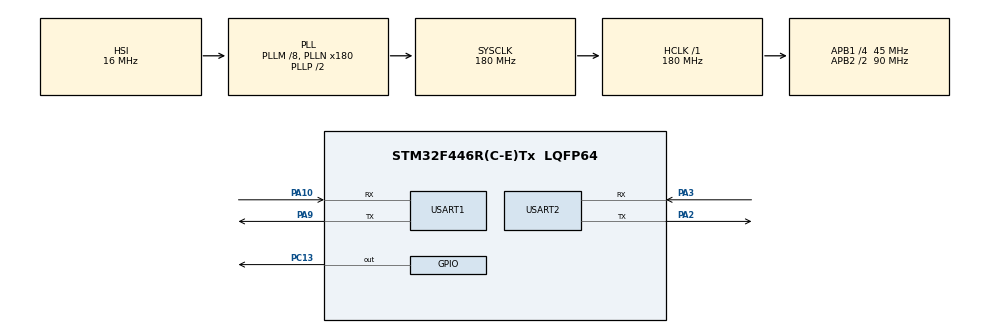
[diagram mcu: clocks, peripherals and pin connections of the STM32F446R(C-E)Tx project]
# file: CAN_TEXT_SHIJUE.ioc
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Dma.Request0=USART2_RX
Dma.Request1=USART2_TX
Dma.USART2_RX.0.Direction=DMA_PERIPH_TO_MEMORY
Dma.USART2_RX.0.FIFOMode=DMA_FIFOMODE_DISABLE
Dma.USART2_RX.0.Instance=DMA1_Stream5
Dma.USART2_RX.0.MemDataAlignment=DMA_MDATAALIGN_BYTE
Dma.USART2_RX.0.MemInc=DMA_MINC_ENABLE
Dma.USART2_RX.0.Mode=DMA_NORMAL
Dma.USART2_RX.0.PeriphDataAlignment=DMA_PDATAALIGN_BYTE
Dma.USART2_RX.0.PeriphInc=DMA_PINC_DISABLE
Dma.USART2_RX.0.Priority=DMA_PRIORITY_MEDIUM
Dma.USART2_TX.1.Direction=DMA_MEMORY_TO_PERIPH
Dma.USART2_TX.1.FIFOMode=DMA_FIFOMODE_DISABLE
Dma.USART2_TX.1.Instance=DMA1_Stream6
Dma.USART2_TX.1.MemDataAlignment=DMA_MDATAALIGN_BYTE
Dma.USART2_TX.1.MemInc=DMA_MINC_ENABLE
Dma.USART2_TX.1.Mode=DMA_NORMAL
Dma.USART2_TX.1.PeriphDataAlignment=DMA_PDATAALIGN_BYTE
Dma.USART2_TX.1.PeriphInc=DMA_PINC_DISABLE
Dma.USART2_TX.1.Priority=DMA_PRIORITY_LOW
Mcu.Family=STM32F4
Mcu.Name=STM32F446R(C-E)Tx
Mcu.Package=LQFP64
NVIC.DMA1_Stream5_IRQn=true\:0\:0\:false\:false\:true\:false\:true\:true
NVIC.DMA1_Stream6_IRQn=true\:0\:0\:false\:false\:true\:false\:true\:true
NVIC.PriorityGroup=NVIC_PRIORITYGROUP_4
NVIC.USART2_IRQn=true\:0\:0\:false\:false\:true\:true\:true\:true
PA10.Mode=Asynchronous
PA10.Signal=USART1_RX
PA13.Mode=Serial_Wire
PA13.Signal=SYS_JTMS-SWDIO
PA14.Mode=Serial_Wire
PA14.Signal=SYS_JTCK-SWCLK
PA2.Mode=Asynchronous
PA2.Signal=USART2_TX
PA3.Mode=Asynchronous
PA3.Signal=USART2_RX
PA9.Mode=Asynchronous
PA9.Signal=USART1_TX
PC13.Signal=GPIO_Output
ProjectManager.HeapSize=0x200
ProjectManager.StackSize=0x400
ProjectManager.TargetToolchain=MDK-ARM V5.32
RCC.AHBFreq_Value=180000000
RCC.APB1CLKDivider=RCC_HCLK_DIV4
RCC.APB1Freq_Value=45000000
RCC.APB1TimFreq_Value=90000000
RCC.APB2CLKDivider=RCC_HCLK_DIV2
RCC.APB2Freq_Value=90000000
RCC.APB2TimFreq_Value=180000000
RCC.CortexFreq_Value=180000000
RCC.HCLKFreq_Value=180000000
RCC.PLLM=8
RCC.PLLN=180
RCC.SYSCLKFreq_VALUE=180000000
RCC.SYSCLKSource=RCC_SYSCLKSOURCE_PLLCLK
RCC.USBFreq_Value=180000000
RCC.VCOOutputFreq_Value=360000000
USART1.VirtualMode=VM_ASYNC
USART2.VirtualMode=VM_ASYNC
board=custom

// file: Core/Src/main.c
/* USER CODE BEGIN Header */
/**
  ******************************************************************************
  * @file           : main.c
  * @brief          : Main program body
  ******************************************************************************
  * @attention
  *
  * Copyright (c) 2024 STMicroelectronics.
  * All rights reserved.
  *
  * This software is licensed under terms that can be found in the LICENSE file
  * in the root directory of this software component.
  * If no LICENSE file comes with this software, it is provided AS-IS.
  *
  ******************************************************************************
  */
/* USER CODE END Header */
#include "main.h"

/* USER CODE BEGIN Includes */
#include <stdarg.h>
#include <stdio.h>
#include <string.h>
#include "stdio.h"
#include "string.h"
/* USER CODE END Includes */

UART_HandleTypeDef huart1;
UART_HandleTypeDef huart2;
DMA_HandleTypeDef hdma_usart2_rx;
DMA_HandleTypeDef hdma_usart2_tx;

/* USER CODE BEGIN PV */
static uint8_t  datrx[21]={0};
static uint8_t  datrx1[20]={0};
static uint8_t  dattx[9];
static float data[5];
/* USER CODE END PV */

void SystemClock_Config(void);
static void MX_GPIO_Init(void);
static void MX_DMA_Init(void);
static void MX_USART2_UART_Init(void);
static void MX_USART1_UART_Init(void);
/* USER CODE BEGIN PFP */

void uint_to_float(void);//没有用到
/* USER CODE END PFP */

/* USER CODE BEGIN 0 */

static void UART_Printf(const char *format, ...)//串口一打印函数
{
	char tmp[128];

	va_list argptr;
	va_start(argptr, format);
	vsprintf((char* )tmp, format, argptr);
	va_end(argptr);

	HAL_UART_Transmit(&huart1, (const uint8_t *)&tmp, strlen(tmp), HAL_MAX_DELAY);
}
/* USER CODE END 0 */

int main(void)
{

  /* MCU Configuration--------------------------------------------------------*/

  /* Reset of all peripherals, Initializes the Flash interface and the Systick. */
  HAL_Init();

  /* Configure the system clock */
  SystemClock_Config();

  /* Initialize all configured peripherals */
  MX_GPIO_Init();
  MX_DMA_Init();
  MX_USART2_UART_Init();
  MX_USART1_UART_Init();
  /* USER CODE BEGIN 2 */
	HAL_UARTEx_ReceiveToIdle_DMA(&huart2,datrx ,21);

	dattx [0] = 0x5A;
   float data1 = 4.0;
   float data2 = 5.0;
   // 将 float 转换为字节并存储S
   memcpy(dattx + 1, &data1, sizeof(data1));
   memcpy(dattx + 5, &data2, sizeof(data2));

  /* USER CODE END 2 */

  /* Infinite loop */
  /* USER CODE BEGIN WHILE */
//    HAL_UART_Receive_IT (&huart2,datrx ,33);
  while (1)
  {
	  HAL_UART_Receive_DMA(&huart2,datrx ,21);//接收帧头和5个float
	  uint8_t i=0;
	  for(i=0;i<20;i++)//将五个float数据传给暂存数组，方便下一个函数转化为float，方法比较蠢，有高级一点的方法直接用下一个函数
	  {
		datrx1[i]=datrx [i+1];
	  }

	  memcpy(data, &datrx1, sizeof(datrx1));//取出四个float赋值给data

//	  uint_to_float ();
	  HAL_GPIO_TogglePin (GPIOC,GPIO_PIN_13 );//指示灯
	  HAL_UART_Transmit_DMA(&huart2,dattx ,9);//发送帧头与两个float给视觉
		HAL_Delay(100);
//	  HAL_UART_Transmit (&huart2,datr1 ,9,HAL_MAX_DELAY);

	  UART_Printf ("%f,%f,%f,%f,%f\n",data[0],data[1],data[2],data[3],data[4]);//串口一打印5个float看接收是否正常
//	  HAL_Delay (100);
    /* USER CODE END WHILE */

  }
}

void SystemClock_Config(void)
{
  RCC_OscInitTypeDef RCC_OscInitStruct = {0};
  RCC_ClkInitTypeDef RCC_ClkInitStruct = {0};

  /** Configure the main internal regulator output voltage
  */
  __HAL_RCC_PWR_CLK_ENABLE();
  __HAL_PWR_VOLTAGESCALING_CONFIG(PWR_REGULATOR_VOLTAGE_SCALE1);

  /** Initializes the RCC Oscillators according to the specified parameters
  * in the RCC_OscInitTypeDef structure.
  */
  RCC_OscInitStruct.OscillatorType = RCC_OSCILLATORTYPE_HSI;
  RCC_OscInitStruct.HSIState = RCC_HSI_ON;
  RCC_OscInitStruct.HSICalibrationValue = RCC_HSICALIBRATION_DEFAULT;
  RCC_OscInitStruct.PLL.PLLState = RCC_PLL_ON;
  RCC_OscInitStruct.PLL.PLLSource = RCC_PLLSOURCE_HSI;
  RCC_OscInitStruct.PLL.PLLM = 8;
  RCC_OscInitStruct.PLL.PLLN = 180;
  RCC_OscInitStruct.PLL.PLLP = RCC_PLLP_DIV2;
  RCC_OscInitStruct.PLL.PLLQ = 2;
  RCC_OscInitStruct.PLL.PLLR = 2;
  if (HAL_RCC_OscConfig(&RCC_OscInitStruct) != HAL_OK)
  {
    Error_Handler();
  }

  /** Activate the Over-Drive mode
  */
  if (HAL_PWREx_EnableOverDrive() != HAL_OK)
  {
    Error_Handler();
  }

  /** Initializes the CPU, AHB and APB buses clocks
  */
  RCC_ClkInitStruct.ClockType = RCC_CLOCKTYPE_HCLK|RCC_CLOCKTYPE_SYSCLK
                              |RCC_CLOCKTYPE_PCLK1|RCC_CLOCKTYPE_PCLK2;
  RCC_ClkInitStruct.SYSCLKSource = RCC_SYSCLKSOURCE_PLLCLK;
  RCC_ClkInitStruct.AHBCLKDivider = RCC_SYSCLK_DIV1;
  RCC_ClkInitStruct.APB1CLKDivider = RCC_HCLK_DIV4;
  RCC_ClkInitStruct.APB2CLKDivider = RCC_HCLK_DIV2;

  if (HAL_RCC_ClockConfig(&RCC_ClkInitStruct, FLASH_LATENCY_5) != HAL_OK)
  {
    Error_Handler();
  }
}

static void MX_USART1_UART_Init(void)
{

  huart1.Instance = USART1;
  huart1.Init.BaudRate = 115200;
  huart1.Init.WordLength = UART_WORDLENGTH_8B;
  huart1.Init.StopBits = UART_STOPBITS_1;
  huart1.Init.Parity = UART_PARITY_NONE;
  huart1.Init.Mode = UART_MODE_TX_RX;
  huart1.Init.HwFlowCtl = UART_HWCONTROL_NONE;
  huart1.Init.OverSampling = UART_OVERSAMPLING_16;
  if (HAL_UART_Init(&huart1) != HAL_OK)
  {
    Error_Handler();
  }

}

static void MX_USART2_UART_Init(void)
{

  huart2.Instance = USART2;
  huart2.Init.BaudRate = 115200;
  huart2.Init.WordLength = UART_WORDLENGTH_8B;
  huart2.Init.StopBits = UART_STOPBITS_1;
  huart2.Init.Parity = UART_PARITY_NONE;
  huart2.Init.Mode = UART_MODE_TX_RX;
  huart2.Init.HwFlowCtl = UART_HWCONTROL_NONE;
  huart2.Init.OverSampling = UART_OVERSAMPLING_16;
  if (HAL_UART_Init(&huart2) != HAL_OK)
  {
    Error_Handler();
  }

}

static void MX_DMA_Init(void)
{

  /* DMA controller clock enable */
  __HAL_RCC_DMA1_CLK_ENABLE();

  /* DMA interrupt init */
  /* DMA1_Stream5_IRQn interrupt configuration */
  HAL_NVIC_SetPriority(DMA1_Stream5_IRQn, 0, 0);
  HAL_NVIC_EnableIRQ(DMA1_Stream5_IRQn);
  /* DMA1_Stream6_IRQn interrupt configuration */
  HAL_NVIC_SetPriority(DMA1_Stream6_IRQn, 0, 0);
  HAL_NVIC_EnableIRQ(DMA1_Stream6_IRQn);

}

static void MX_GPIO_Init(void)
{
  GPIO_InitTypeDef GPIO_InitStruct = {0};

  /* GPIO Ports Clock Enable */
  __HAL_RCC_GPIOC_CLK_ENABLE();
  __HAL_RCC_GPIOA_CLK_ENABLE();

  /*Configure GPIO pin Output Level */
  HAL_GPIO_WritePin(GPIOC, GPIO_PIN_13, GPIO_PIN_RESET);

  /*Configure GPIO pin : PC13 */
  GPIO_InitStruct.Pin = GPIO_PIN_13;
  GPIO_InitStruct.Mode = GPIO_MODE_OUTPUT_PP;
  GPIO_InitStruct.Pull = GPIO_NOPULL;
  GPIO_InitStruct.Speed = GPIO_SPEED_FREQ_LOW;
  HAL_GPIO_Init(GPIOC, &GPIO_InitStruct);

}

/* USER CODE BEGIN 4 */
void uint_to_float(void)
{
	if(datrx [0]==0xA5)
	{
		data [0]=(float)((datrx [1]<<24)|(datrx[2]<<16)|(datrx [3]<<8)|(datrx [4 ]));
		data [1]=(float)((datrx [5]<<24)|(datrx[6]<<16)|(datrx [7]<<8)|(datrx [8 ]));
		data [2]=(float)((datrx [9]<<24)|(datrx[10]<<16)|(datrx [11]<<8)|(datrx [12 ]));
		data [3]=(float)((datrx [13]<<24)|(datrx[14]<<16)|(datrx [15]<<8)|(datrx [16 ]));
		data [4]=(float)((datrx [17]<<24)|(datrx[18]<<16)|(datrx [19]<<8)|(datrx [20 ]));
//		data [5]=(float)((datr [21]<<24)|(datr[22]<<16)|(datr [23]<<8)|(datr [24 ]));
//		data [6]=(float)((datr [25]<<24)|(datr[26]<<16)|(datr [27]<<8)|(datr [28 ]));
//		data [7]=(float)((datr [29]<<24)|(datr[30]<<16)|(datr [31]<<8)|(datr [32 ]));

//		data [0]=(float)((datrx [4]<<24)|(datrx[3]<<16)|(datrx [2]<<8)|(datrx [1 ]));
//		data [1]=(float)((datrx [8]<<24)|(datrx[7]<<16)|(datrx [6]<<8)|(datrx [5 ]));
//		data [2]=(float)((datrx [12]<<24)|(datrx[11]<<16)|(datrx [10]<<8)|(datrx [9 ]));
//		data [3]=(float)((datrx [16]<<24)|(datrx[15]<<16)|(datrx [14]<<8)|(datrx [13 ]));
//		data [4]=(float)((datrx [20]<<24)|(datrx[19]<<16)|(datrx [18]<<8)|(datrx [17 ]));
	}
}
/* USER CODE END 4 */

void Error_Handler(void)
{
  __disable_irq();
  while (1)
  {
  }
}
